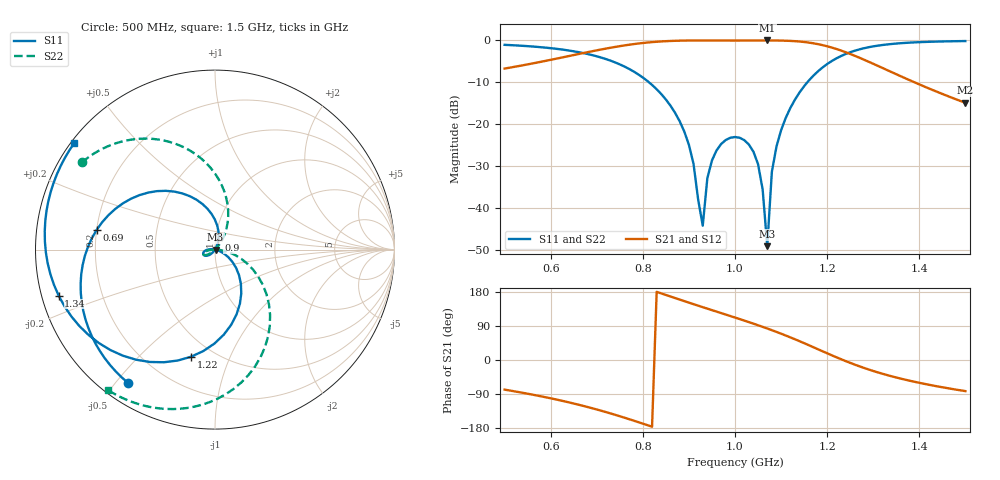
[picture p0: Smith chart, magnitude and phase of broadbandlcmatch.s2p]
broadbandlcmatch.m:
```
% script matrix1

% 100MHz - 2000MHz
sweeppoints = 500e+6:10e+6:1500e+6;


% common functions
addpath("../RFlib")

% === Input parameters ====

% source
Z0 = 50;
% load
ZL = 2500;
% the frequency
Fm = 1e+9;

% ===============

% intermediate impedance
ZM = sqrt(Z0 * ZL);

% Q = sqrt((ZL/Z0)-1)
Q1 = sqrt((ZM/Z0)-1);
Q2 = sqrt((ZL/ZM)-1);

%Kf = sqrt((Z0/ZM) * Q1^2)
Kf = sqrt((Z0/ZM) * (ZM/Z0 - 1));
% Correcting the frequency for the second peak
Fm = Fm * Kf;

% inductor
L1 = (Z0*Q1) / Omega(Fm);
L2 = (ZM*Q2) / Omega(Fm);

% capacitor
C1 = Admittance(ZM/Q1) / Omega(Fm);
C2 = Admittance(ZL/Q2) / Omega(Fm);

f1 = 1 / (2 * pi * sqrt(L1 * C1));
f2 = 1 / (2 * pi * sqrt(L2 * C2));

ts = sweep2ts(sweeppoints);

for fp = 1:length(sweeppoints)
    f = sweeppoints(fp);

    % 1/4 wave tline
    
    M = TLineMatrix(Z0, f2rad(f, 1e+9)/4);

    M = M * SeriesImpedanceMatrix(InductorImpedance(L1, f));
    M = M * ShuntImpedanceMatrix(CapacitorImpedance(C1, f));

    M = M * SeriesImpedanceMatrix(InductorImpedance(L2, f));
    M = M * ShuntImpedanceMatrix(CapacitorImpedance(C2, f));

    M = M * ImpedanceTransformerMatrix(ZL, Z0);

    ts.points(fp).S = abcd2s(M, Z0);
end

plot2ports(ts, 51);

pause();

touchstonewrite([mfilename() '.s2p'], ts);

L1
C1
L2
C2
Q1
Q2
```
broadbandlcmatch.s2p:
! https://github.com/szoftveres
# Hz S RI R 50
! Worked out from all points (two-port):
!   101 points, 500 MHz to 1.5 GHz, reference 50 ohm
!   highest |S21| = 0.00 dB at 1.07 GHz (marker M1); lowest = -14.9 dB at 1.5 GHz (marker M2)
!   |S21| within 3 dB of the highest: 671 MHz to 1.245 GHz (573.8 MHz wide, 59.9 % of centre)
!   lowest |S11| = -49.1 dB at 1.07 GHz (marker M3), VSWR 1.01, Z = 50.3 - j0.0808 ohm
!   |S11| at or under -10 dB: 813.5 MHz to 1.157 GHz (343.4 MHz wide, 34.9 % of centre)
!   |S22| runs from -49.1 to -0.1 dB; largest |S21 - S12| = 0
!   S11 on the Smith chart (normalised r, x): 500 MHz: 0.08, -0.54; 690 MHz: 0.20, +0.08; 900 MHz: 1.03, +0.11; 1.22 GHz: 0.38, -0.73; 1.34 GHz: 0.05, -0.14; 1.5 GHz: 0.01, +0.34
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5e8  -0.4859 -0.7418  0.0943 -0.4526  0.0943 -0.4526  -0.7418 0.4859
6.9e8  -0.6599 0.1088  -0.4501 -0.5917  -0.4501 -0.5917  -0.2809 0.607
9e8  0.0191 0.0535  -0.8762 0.4785  -0.8762 0.4785  0.0347 0.045
9.3e8  -0.00348 -0.00511  -0.7597 0.6502  -0.7597 0.6502  -0.00451 -0.00423
1e9  -0.0654 -0.0265  -0.3742 0.9247  -0.3742 0.9247  -0.0654 -0.0265
1.05e9  -0.0335 0.00162  -0.0303 0.999  -0.0303 0.999  -0.0333 -0.00364
1.07e9  0.00343 -0.000802  0.1196 0.9928  0.1196 0.9928  0.00352 -3.49e-05
1.1e9  0.0739 -0.0418  0.3494 0.9331  0.3494 0.9331  0.0832 -0.017
1.22e9  -0.133 -0.5968  0.785 0.0996  0.785 0.0996  0.2779 -0.5446
1.34e9  -0.8711 -0.2562  0.3064 -0.2858  0.3064 -0.2858  -0.1952 -0.8868
1.5e9  -0.7844 0.5934  0.0248 -0.1787  0.0248 -0.1787  -0.5934 -0.7844
